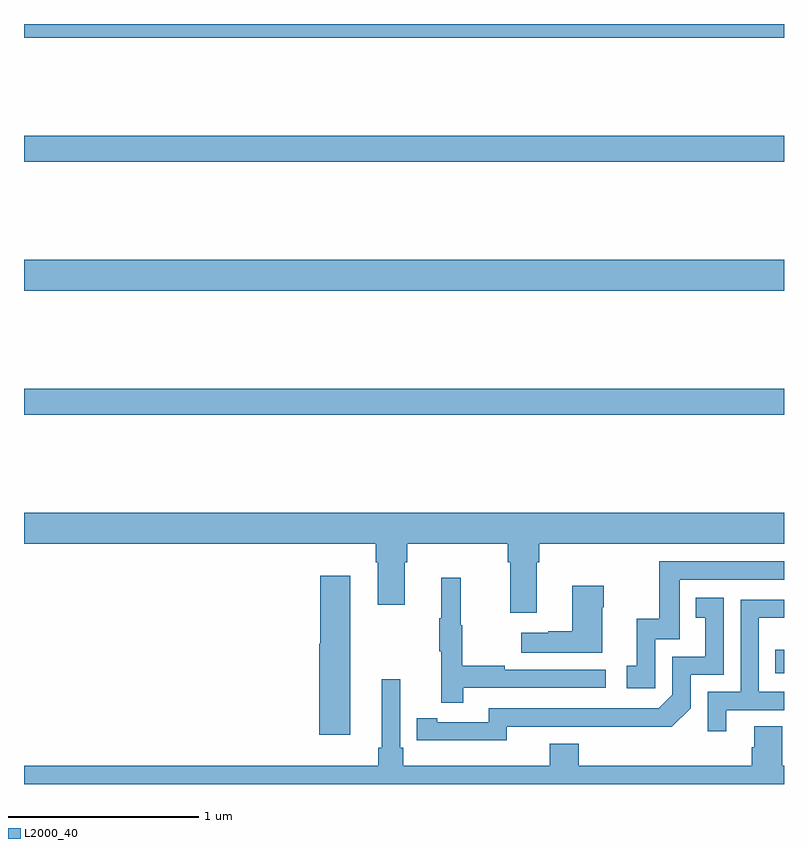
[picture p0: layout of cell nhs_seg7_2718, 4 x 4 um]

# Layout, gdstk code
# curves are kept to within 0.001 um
import gdstk
lib = gdstk.Library(unit=1e-6, precision=1e-09)
def R(c, l, rs):  # rectangles x0, y0, x1, y1
    for r in rs: c.add(gdstk.rectangle(r[:2], r[2:], *l))
def P(c, l, *ps):  # polygons
    for p in ps: c.add(gdstk.Polygon(p, *l))
L2000_40 = (2000, 40)

nhs_seg7_2718 = lib.new_cell('nhs_seg7_2718')
R(nhs_seg7_2718, L2000_40, [(290.953,1018.584,291,1018.707), (287,1019.944,291,1020.08), (287,1020.596,291,1020.76), (287,1021.276,291,1021.412), (287,1021.928,291,1022)])
P(nhs_seg7_2718, L2000_40, [(289.699,1019.168),(289.712,1019.168),(289.712,1019.264),(291,1019.264),(291,1019.428),(287,1019.428),(287,1019.264),(288.851,1019.264),(288.851,1019.168),(288.863,1019.168),(288.863,1018.944),(289.003,1018.944),(289.003,1019.168),(289.016,1019.168),(289.016,1019.264),(289.547,1019.264),(289.547,1019.168),(289.559,1019.168),(289.559,1018.902),(289.699,1018.902)],
  [(290.322,1018.761),(290.451,1018.761),(290.451,1019.076),(291,1019.076),(291,1019.172),(290.343,1019.172),(290.343,1018.87),(290.225,1018.87),(290.225,1018.623),(290.172,1018.623),(290.172,1018.503),(290.322,1018.503)],
  [(288.718,1019.095),(288.56,1019.095),(288.56,1018.737),(288.554,1018.737),(288.554,1018.26),(288.718,1018.26)],
  [(289.313,1018.506),(290.062,1018.506),(290.062,1018.602),(289.529,1018.602),(289.529,1018.622),(289.306,1018.622),(289.306,1018.836),(289.298,1018.836),(289.298,1019.086),(289.196,1019.086),(289.196,1018.873),(289.185,1018.873),(289.185,1018.699),(289.196,1018.699),(289.196,1018.428),(289.313,1018.428)],
  [(290.044,1018.931),(290.052,1018.931),(290.052,1019.044),(289.886,1019.044),(289.886,1018.805),(289.76,1018.805),(289.76,1018.795),(289.617,1018.795),(289.617,1018.691),(290.044,1018.691)],
  [(289.542,1018.302),(290.41,1018.301),(290.508,1018.398),(290.508,1018.575),(290.682,1018.575),(290.682,1018.981),(290.536,1018.981),(290.536,1018.875),(290.585,1018.875),(290.585,1018.671),(290.412,1018.671),(290.412,1018.47),(290.34,1018.398),(289.446,1018.398),(289.446,1018.326),(289.174,1018.326),(289.174,1018.346),(289.066,1018.346),(289.066,1018.23),(289.542,1018.229)],
  [(290.695,1018.389),(291,1018.389),(291,1018.485),(290.868,1018.485),(290.868,1018.874),(291,1018.874),(291,1018.971),(290.772,1018.971),(290.772,1018.485),(290.598,1018.485),(290.598,1018.278),(290.695,1018.278)],
  [(291,1018.096),(290.991,1018.096),(290.991,1018.304),(290.843,1018.304),(290.843,1018.194),(290.831,1018.194),(290.831,1018.096),(289.919,1018.096),(289.919,1018.213),(289.766,1018.213),(289.766,1018.096),(288.995,1018.096),(288.995,1018.192),(288.981,1018.192),(288.981,1018.552),(288.884,1018.552),(288.884,1018.192),(288.865,1018.192),(288.865,1018.096),(287,1018.096),(287,1018),(291,1018)])

lib.write_gds('nhs_seg7_2718.gds')
